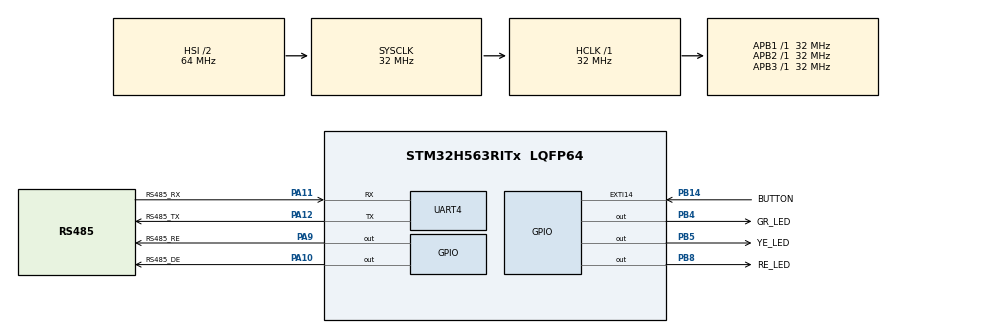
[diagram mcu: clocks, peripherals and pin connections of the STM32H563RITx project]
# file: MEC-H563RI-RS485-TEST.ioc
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BOOTPATH.BootPathName=LEGACY
BOOTPATH.UserSelectedBootPath=LEGACY
CORTEX_M33_NS.userName=CORTEX_M33
Mcu.Family=STM32H5
Mcu.Name=STM32H563RITx
Mcu.Package=LQFP64
NVIC.PriorityGroup=NVIC_PRIORITYGROUP_4
NVIC.UART4_IRQn=true\:0\:0\:false\:false\:true\:true\:true\:true
PA10.GPIO_Label=RS485_DE
PA10.Signal=GPIO_Output
PA11.GPIO_Label=RS485_RX
PA11.Mode=Asynchronous
PA11.Signal=UART4_RX
PA12.GPIO_Label=RS485_TX
PA12.Mode=Asynchronous
PA12.Signal=UART4_TX
PA13(JTMS/SWDIO).Mode=Trace_Asynchronous_SW
PA13(JTMS/SWDIO).Signal=DEBUG_JTMS-SWDIO
PA14(JTCK/SWCLK).Mode=Trace_Asynchronous_SW
PA14(JTCK/SWCLK).Signal=DEBUG_JTCK-SWCLK
PA9.GPIO_Label=RS485_RE
PA9.Signal=GPIO_Output
PB14.GPIO_Label=BUTTON
PB14.Signal=GPXTI14
PB3(JTDO/TRACESWO).Mode=Trace_Asynchronous_SW
PB3(JTDO/TRACESWO).Signal=DEBUG_JTDO-SWO
PB4(NJTRST).GPIO_Label=GR_LED
PB4(NJTRST).GPIO_ModeDefaultOutputPP=GPIO_MODE_OUTPUT_OD
PB4(NJTRST).GPIO_PuPd=GPIO_NOPULL
PB4(NJTRST).PinState=GPIO_PIN_SET
PB4(NJTRST).Signal=GPIO_Output
PB5.GPIO_Label=YE_LED
PB5.GPIO_ModeDefaultOutputPP=GPIO_MODE_OUTPUT_OD
PB5.GPIO_PuPd=GPIO_NOPULL
PB5.PinState=GPIO_PIN_SET
PB5.Signal=GPIO_Output
PB8.GPIO_Label=RE_LED
PB8.GPIO_ModeDefaultOutputPP=GPIO_MODE_OUTPUT_OD
PB8.GPIO_PuPd=GPIO_NOPULL
PB8.PinState=GPIO_PIN_SET
PB8.Signal=GPIO_Output
PH0-OSC_IN(PH0).Mode=HSE-External-Oscillator
PH0-OSC_IN(PH0).Signal=RCC_OSC_IN
PH1-OSC_OUT(PH1).Mode=HSE-External-Oscillator
PH1-OSC_OUT(PH1).Signal=RCC_OSC_OUT
ProjectManager.HeapSize=0x200
ProjectManager.StackSize=0x400
ProjectManager.TargetToolchain=STM32CubeIDE
RCC.ADCFreq_Value=32000000
RCC.AHBFreq_Value=32000000
RCC.APB1Freq_Value=32000000
RCC.APB1TimFreq_Value=32000000
RCC.APB2Freq_Value=32000000
RCC.APB2TimFreq_Value=32000000
RCC.APB3Freq_Value=32000000
RCC.CSI_VALUE=4000000
RCC.CortexFreq_Value=32000000
RCC.EPOD_VALUE=4000000
RCC.HCLKFreq_Value=32000000
RCC.HSE_VALUE=25000000
RCC.HSI48_VALUE=48000000
RCC.HSI_VALUE=64000000
RCC.LSE_VALUE=32768
RCC.LSIRC_VALUE=32000
RCC.PLL1Q=6
RCC.SYSCLKFreq_VALUE=32000000
RCC.USBFreq_Value=48000000
RCC.VCOOutputFreq_Value=516000000
VP_BOOTPATH_VS_BOOTPATH.Mode=BP_Activate
VP_CORTEX_M33_NS_VS_Hclk.Mode=Hclk_Mode
VP_ICACHE_VS_ENABLE_ICACHE_MEMORY.Mode=Memoryregions
VP_ICACHE_VS_ICACHE.Mode=DirectMappedCache
VP_MEMORYMAP_VS_MEMORYMAP.Mode=CurAppReg
VP_PWR_VS_LPOM.Mode=PowerOptimisation
VP_PWR_VS_SECSignals.Mode=Security/Privilege
board=custom

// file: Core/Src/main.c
/* USER CODE BEGIN Header */
/**
  ******************************************************************************
  * @file           : main.c
  * @brief          : Main program body
  ******************************************************************************
  * @attention
  *
  * Copyright (c) 2025 STMicroelectronics.
  * All rights reserved.
  *
  * This software is licensed under terms that can be found in the LICENSE file
  * in the root directory of this software component.
  * If no LICENSE file comes with this software, it is provided AS-IS.
  *
  ******************************************************************************
  */
/* USER CODE END Header */
#include "main.h"

/* USER CODE BEGIN Includes */
#include "string.h"
#include "swo.h"
/* USER CODE END Includes */

UART_HandleTypeDef huart4;

/* USER CODE BEGIN PV */
static uint8_t rs485_rx_byte = 0u;
/* USER CODE END PV */

void SystemClock_Config(void);
static void MX_GPIO_Init(void);
static void MX_ICACHE_Init(void);
static void MX_UART4_Init(void);

int main(void)
{

  /* MCU Configuration--------------------------------------------------------*/

  /* Reset of all peripherals, Initializes the Flash interface and the Systick. */
  HAL_Init();

  /* Configure the system clock */
  SystemClock_Config();

  /* Initialize all configured peripherals */
  MX_GPIO_Init();
  MX_ICACHE_Init();
  MX_UART4_Init();
  /* USER CODE BEGIN 2 */

  /* Init main*/
  printf("Init main \r\n");

  /* RS485 receive mode: DE = 0, /RE = 0 */
  HAL_GPIO_WritePin(RS485_DE_GPIO_Port, RS485_DE_Pin, GPIO_PIN_RESET);
  HAL_GPIO_WritePin(RS485_RE_GPIO_Port, RS485_RE_Pin, GPIO_PIN_RESET);

  /* Start interrupt-driven reception of one byte */
  if (HAL_UART_Receive_IT(&huart4, &rs485_rx_byte, 1u) != HAL_OK)
  {
    Error_Handler();
  }

  /* USER CODE END 2 */

  /* Infinite loop */
  while (1)
  {

  }
}

void SystemClock_Config(void)
{
  RCC_OscInitTypeDef RCC_OscInitStruct = {0};
  RCC_ClkInitTypeDef RCC_ClkInitStruct = {0};

  /** Configure the main internal regulator output voltage
  */
  __HAL_PWR_VOLTAGESCALING_CONFIG(PWR_REGULATOR_VOLTAGE_SCALE3);

  while(!__HAL_PWR_GET_FLAG(PWR_FLAG_VOSRDY)) {}

  /** Initializes the RCC Oscillators according to the specified parameters
  * in the RCC_OscInitTypeDef structure.
  */
  RCC_OscInitStruct.OscillatorType = RCC_OSCILLATORTYPE_HSI;
  RCC_OscInitStruct.HSIState = RCC_HSI_ON;
  RCC_OscInitStruct.HSIDiv = RCC_HSI_DIV2;
  RCC_OscInitStruct.HSICalibrationValue = RCC_HSICALIBRATION_DEFAULT;
  RCC_OscInitStruct.PLL.PLLState = RCC_PLL_NONE;
  if (HAL_RCC_OscConfig(&RCC_OscInitStruct) != HAL_OK)
  {
    Error_Handler();
  }

  /** Initializes the CPU, AHB and APB buses clocks
  */
  RCC_ClkInitStruct.ClockType = RCC_CLOCKTYPE_HCLK|RCC_CLOCKTYPE_SYSCLK
                              |RCC_CLOCKTYPE_PCLK1|RCC_CLOCKTYPE_PCLK2
                              |RCC_CLOCKTYPE_PCLK3;
  RCC_ClkInitStruct.SYSCLKSource = RCC_SYSCLKSOURCE_HSI;
  RCC_ClkInitStruct.AHBCLKDivider = RCC_SYSCLK_DIV1;
  RCC_ClkInitStruct.APB1CLKDivider = RCC_HCLK_DIV1;
  RCC_ClkInitStruct.APB2CLKDivider = RCC_HCLK_DIV1;
  RCC_ClkInitStruct.APB3CLKDivider = RCC_HCLK_DIV1;

  if (HAL_RCC_ClockConfig(&RCC_ClkInitStruct, FLASH_LATENCY_1) != HAL_OK)
  {
    Error_Handler();
  }

  /** Configure the programming delay
  */
  __HAL_FLASH_SET_PROGRAM_DELAY(FLASH_PROGRAMMING_DELAY_0);
}

static void MX_ICACHE_Init(void)
{

  /** Enable instruction cache in 1-way (direct mapped cache)
  */
  if (HAL_ICACHE_ConfigAssociativityMode(ICACHE_1WAY) != HAL_OK)
  {
    Error_Handler();
  }
  if (HAL_ICACHE_Enable() != HAL_OK)
  {
    Error_Handler();
  }

}

static void MX_UART4_Init(void)
{

  huart4.Instance = UART4;
  huart4.Init.BaudRate = 115200;
  huart4.Init.WordLength = UART_WORDLENGTH_8B;
  huart4.Init.StopBits = UART_STOPBITS_1;
  huart4.Init.Parity = UART_PARITY_NONE;
  huart4.Init.Mode = UART_MODE_TX_RX;
  huart4.Init.HwFlowCtl = UART_HWCONTROL_NONE;
  huart4.Init.OverSampling = UART_OVERSAMPLING_16;
  huart4.Init.OneBitSampling = UART_ONE_BIT_SAMPLE_DISABLE;
  huart4.Init.ClockPrescaler = UART_PRESCALER_DIV1;
  huart4.AdvancedInit.AdvFeatureInit = UART_ADVFEATURE_NO_INIT;
  if (HAL_UART_Init(&huart4) != HAL_OK)
  {
    Error_Handler();
  }
  if (HAL_UARTEx_SetTxFifoThreshold(&huart4, UART_TXFIFO_THRESHOLD_1_8) != HAL_OK)
  {
    Error_Handler();
  }
  if (HAL_UARTEx_SetRxFifoThreshold(&huart4, UART_RXFIFO_THRESHOLD_1_8) != HAL_OK)
  {
    Error_Handler();
  }
  if (HAL_UARTEx_DisableFifoMode(&huart4) != HAL_OK)
  {
    Error_Handler();
  }

}

static void MX_GPIO_Init(void)
{
  GPIO_InitTypeDef GPIO_InitStruct = {0};

  /* GPIO Ports Clock Enable */
  __HAL_RCC_GPIOH_CLK_ENABLE();
  __HAL_RCC_GPIOB_CLK_ENABLE();
  __HAL_RCC_GPIOA_CLK_ENABLE();

  /*Configure GPIO pin Output Level */
  HAL_GPIO_WritePin(GPIOA, RS485_RE_Pin|RS485_DE_Pin, GPIO_PIN_RESET);

  /*Configure GPIO pin Output Level */
  HAL_GPIO_WritePin(GPIOB, GR_LED_Pin|YE_LED_Pin|RE_LED_Pin, GPIO_PIN_SET);

  /*Configure GPIO pin : BUTTON_Pin */
  GPIO_InitStruct.Pin = BUTTON_Pin;
  GPIO_InitStruct.Mode = GPIO_MODE_IT_RISING;
  GPIO_InitStruct.Pull = GPIO_NOPULL;
  HAL_GPIO_Init(BUTTON_GPIO_Port, &GPIO_InitStruct);

  /*Configure GPIO pins : RS485_RE_Pin RS485_DE_Pin */
  GPIO_InitStruct.Pin = RS485_RE_Pin|RS485_DE_Pin;
  GPIO_InitStruct.Mode = GPIO_MODE_OUTPUT_PP;
  GPIO_InitStruct.Pull = GPIO_NOPULL;
  GPIO_InitStruct.Speed = GPIO_SPEED_FREQ_LOW;
  HAL_GPIO_Init(GPIOA, &GPIO_InitStruct);

  /*Configure GPIO pins : GR_LED_Pin YE_LED_Pin RE_LED_Pin */
  GPIO_InitStruct.Pin = GR_LED_Pin|YE_LED_Pin|RE_LED_Pin;
  GPIO_InitStruct.Mode = GPIO_MODE_OUTPUT_OD;
  GPIO_InitStruct.Pull = GPIO_NOPULL;
  GPIO_InitStruct.Speed = GPIO_SPEED_FREQ_LOW;
  HAL_GPIO_Init(GPIOB, &GPIO_InitStruct);

}

/* USER CODE BEGIN 4 */

void HAL_UART_RxCpltCallback(UART_HandleTypeDef *huart)
{
  if (huart->Instance == UART4)
  {
	/*
	 * Report received byte through SWO.
	 */
	printf("[RS485] RX: 0x%02X ('%c')\r\n", rs485_rx_byte, rs485_rx_byte);

    /*
     * Switch RS485 transceiver to transmit mode:
     * DE  = 1
     * /RE = 1
     */
    HAL_GPIO_WritePin(RS485_RE_GPIO_Port, RS485_RE_Pin, GPIO_PIN_SET);
    HAL_GPIO_WritePin(RS485_DE_GPIO_Port, RS485_DE_Pin, GPIO_PIN_SET);

    /*
     * Echo the received byte.
     */
    if (HAL_UART_Transmit_IT(&huart4, &rs485_rx_byte, 1u) != HAL_OK)
    {
      Error_Handler();
    }
  }
}

/**
  * @brief UART transmission-complete callback.
  *
  * @param huart UART handle associated with the completed transmission.
  *
  * @details
  * When transmission through UART4 completes, this callback reports the
  * transmitted byte through SWO, returns the RS485 transceiver to receive mode
  * and starts reception of the next byte.
  */
void HAL_UART_TxCpltCallback(UART_HandleTypeDef *huart)
{
  if (huart->Instance == UART4)
  {
	/*
	 * Report received byte through SWO.
	 */
	printf("[RS485] TX complete: 0x%02X ('%c')\r\n", rs485_rx_byte, rs485_rx_byte);

    /*
     * Return RS485 transceiver to receive mode:
     * DE  = 0
     * /RE = 0
     */
    HAL_GPIO_WritePin(RS485_DE_GPIO_Port, RS485_DE_Pin, GPIO_PIN_RESET);
    HAL_GPIO_WritePin(RS485_RE_GPIO_Port, RS485_RE_Pin, GPIO_PIN_RESET);

    /*
     * Arm reception of the next byte.
     */
    if (HAL_UART_Receive_IT(&huart4, &rs485_rx_byte, 1u) != HAL_OK)
    {
      Error_Handler();
    }
  }
}

/**
  * @brief UART error callback.
  *
  * @param huart UART handle associated with the detected error.
  *
  * @details
  * This callback reports UART4 errors through SWO, returns the transceiver to
  * receive mode and attempts to restart interrupt-driven reception.
  */
void HAL_UART_ErrorCallback(UART_HandleTypeDef *huart)
{
  uint32_t error_code;

  if (huart->Instance == UART4)
  {
    error_code = HAL_UART_GetError(huart);
    printf("[RS485] UART error: 0x%08lX\r\n", (unsigned long)error_code);

    /*
     * Restore receive mode.
     */
    HAL_GPIO_WritePin(RS485_DE_GPIO_Port, RS485_DE_Pin, GPIO_PIN_RESET);

    HAL_GPIO_WritePin(RS485_RE_GPIO_Port, RS485_RE_Pin, GPIO_PIN_RESET);

    /*
     * Abort the current UART operation before restarting reception.
     */
    (void)HAL_UART_Abort(&huart4);

    if (HAL_UART_Receive_IT(&huart4,&rs485_rx_byte,1u) != HAL_OK)
    {
      Error_Handler();
    }
  }
}

/* USER CODE END 4 */

void Error_Handler(void)
{
  __disable_irq();
  while (1)
  {
  }
}
